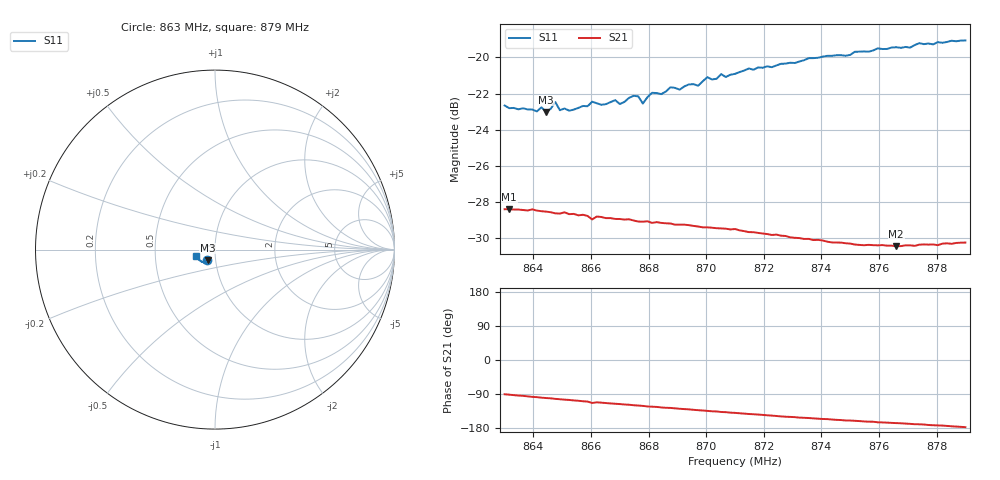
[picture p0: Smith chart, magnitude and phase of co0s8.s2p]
# HZ S RI R 50
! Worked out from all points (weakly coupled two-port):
!   101 points, 863 MHz to 879 MHz, reference 50 ohm
!   highest |S21| = -28.41 dB at 863.16 MHz (marker M1); lowest = -30.5 dB at 876.6 MHz (marker M2)
!   lowest |S11| = -23.0 dB at 864.44 MHz (marker M3), VSWR 1.15, Z = 45.9 - j5.38 ohm
!   |S11| at or under -10 dB: start of sweep to end of sweep
!   S12 and S22 are empty: the file has one direction only
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8.63e8  -0.0434 -0.0594  -0.000268 -0.038  0 0  0 0
8.6316e8  -0.0428 -0.0583  -0.000999 -0.0379  0 0  0 0
8.6428e8  -0.0397 -0.061  -0.00613 -0.037  0 0  0 0
8.6444e8  -0.0397 -0.0583  -0.00672 -0.0368  0 0  0 0
8.6476e8  -0.0438 -0.0611  -0.008 -0.0361  0 0  0 0
8.6492e8  -0.0385 -0.0602  -0.00869 -0.0359  0 0  0 0
8.6572e8  -0.0378 -0.0629  -0.0118 -0.0347  0 0  0 0
8.6684e8  -0.0389 -0.0655  -0.0153 -0.0322  0 0  0 0
8.67e8  -0.0387 -0.0634  -0.0158 -0.032  0 0  0 0
8.6748e8  -0.0413 -0.0665  -0.0173 -0.0308  0 0  0 0
8.678e8  -0.0379 -0.0642  -0.0181 -0.03  0 0  0 0
8.6812e8  -0.0433 -0.067  -0.0191 -0.0291  0 0  0 0
8.6844e8  -0.0403 -0.0681  -0.0201 -0.0284  0 0  0 0
8.6876e8  -0.0453 -0.0692  -0.0206 -0.0279  0 0  0 0
8.6908e8  -0.0432 -0.069  -0.0215 -0.0269  0 0  0 0
8.6972e8  -0.0452 -0.0702  -0.0229 -0.0251  0 0  0 0
8.7004e8  -0.0513 -0.0717  -0.0236 -0.0242  0 0  0 0
8.71e8  -0.0548 -0.0714  -0.0255 -0.0217  0 0  0 0
8.7372e8  -0.072 -0.0687  -0.028 -0.0136  0 0  0 0
8.7644e8  -0.0913 -0.055  -0.0292 -0.00731  0 0  0 0
8.766e8  -0.0918 -0.0543  -0.0292 -0.00699  0 0  0 0
8.79e8  -0.1055 -0.036  -0.0307 -0.00145  0 0  0 0
